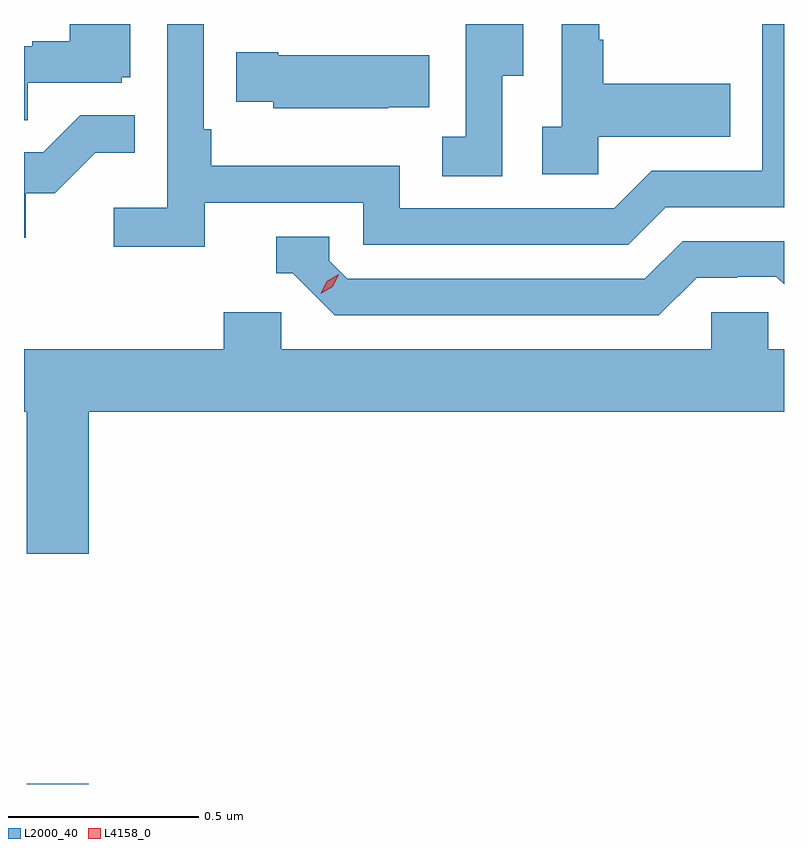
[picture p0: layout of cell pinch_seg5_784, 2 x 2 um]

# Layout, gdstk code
import gdstk
lib = gdstk.Library(unit=1e-6, precision=1e-09)
def R(c, l, rs):  # rectangles x0, y0, x1, y1
    for r in rs: c.add(gdstk.rectangle(r[:2], r[2:], *l))
def P(c, l, *ps):  # polygons
    for p in ps: c.add(gdstk.Polygon(p, *l))
L2000_40 = (2000, 40)
L4158_0 = (4158, 0)

pinch_seg5_784 = lib.new_cell('pinch_seg5_784')
R(pinch_seg5_784, L2000_40, [(824.348,905.064,824.512,905.065)])
P(pinch_seg5_784, L2000_40, [(824.816,906.594),(825.234,906.594),(825.234,906.483),(825.931,906.483),(826.03,906.582),(826.341,906.582),(826.341,907.064),(826.284,907.064),(826.284,906.678),(825.993,906.678),(825.894,906.579),(825.33,906.579),(825.33,906.691),(824.834,906.691),(824.834,906.787),(824.814,906.787),(824.814,907.064),(824.718,907.064),(824.718,906.58),(824.577,906.58),(824.577,906.478),(824.816,906.478)],
  [(825.852,906.767),(826.199,906.767),(826.199,906.907),(825.865,906.907),(825.865,907.022),(825.855,907.022),(825.855,907.064),(825.756,907.064),(825.756,906.794),(825.705,906.794),(825.705,906.669),(825.852,906.669)],
  [(825.6,906.928),(825.655,906.928),(825.655,907.064),(825.504,907.064),(825.504,906.767),(825.441,906.767),(825.441,906.664),(825.6,906.664)],
  [(824.351,906.909),(824.598,906.909),(824.598,906.924),(824.62,906.924),(824.62,907.064),(824.462,907.064),(824.462,907.018),(824.363,907.018),(824.363,907.005),(824.341,907.005),(824.341,906.811),(824.351,906.811)],
  [(825.299,906.845),(825.407,906.845),(825.407,906.982),(825.01,906.982),(825.01,906.99),(824.899,906.99),(824.899,906.86),(824.997,906.86),(824.997,906.842),(825.299,906.842)],
  [(824.346,906.618),(824.422,906.618),(824.529,906.725),(824.633,906.725),(824.633,906.824),(824.489,906.824),(824.391,906.726),(824.341,906.726),(824.341,906.501),(824.346,906.501)],
  [(826.111,906.396),(826.218,906.396),(826.218,906.399),(826.321,906.399),(826.341,906.379),(826.341,906.492),(826.074,906.492),(825.975,906.393),(825.192,906.393),(825.144,906.441),(825.144,906.504),(825.005,906.504),(825.005,906.408),(825.048,906.408),(825.159,906.297),(826.012,906.297)],
  [(824.512,906.044),(826.341,906.044),(826.341,906.208),(826.299,906.208),(826.299,906.306),(826.149,906.306),(826.149,906.208),(825.018,906.208),(825.018,906.306),(824.867,906.306),(824.867,906.208),(824.341,906.208),(824.341,906.044),(824.348,906.044),(824.348,905.67),(824.512,905.67)])
P(pinch_seg5_784, L4158_0, [(825.122,906.354),(825.122,906.354),(825.138,906.387),(825.169,906.406),(825.169,906.406),(825.169,906.406),(825.153,906.373),(825.122,906.354)])

lib.write_gds('pinch_seg5_784.gds')
